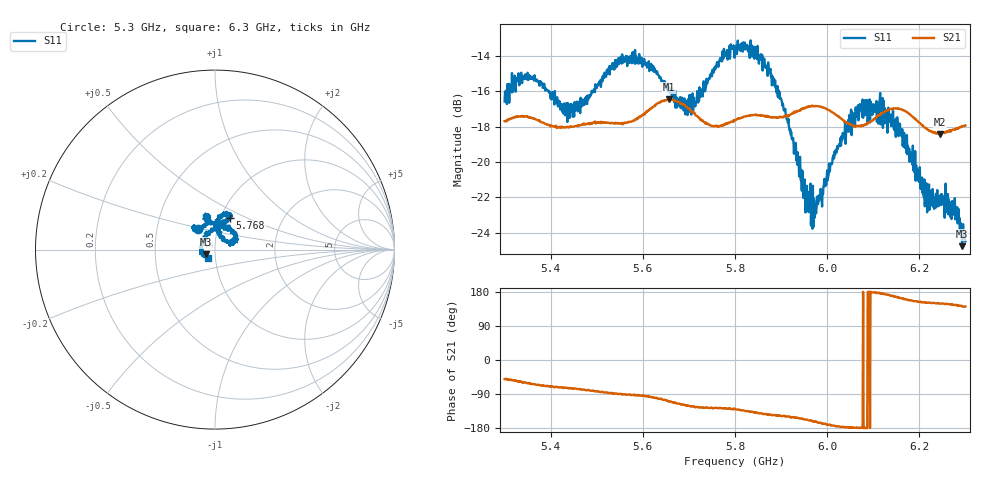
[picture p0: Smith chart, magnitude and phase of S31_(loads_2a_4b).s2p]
! NanoVNA-App
! Date: 2026-11-04 23:51:35
! Start: 5,3GHz Stop: 6,3GHz Points: 1001
! S-Parameter data: F S11 S21 S12 S22
# Hz S RI R 50
!  Frequency  S11_Real  S11_Imag  S21_Real  S21_Imag  S12_Real  S12_Imag  S22_Real  S22_Imag
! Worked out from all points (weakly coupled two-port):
!   1001 points, 5.3 GHz to 6.3 GHz, reference 50 ohm
!   highest |S21| = -16.44 dB at 5.657 GHz (marker M1); lowest = -18.4 dB at 6.245 GHz (marker M2)
!   lowest |S11| = -24.8 dB at 6.293 GHz (marker M3), VSWR 1.12, Z = 45 - j2.39 ohm
!   |S11| at or under -10 dB: start of sweep to end of sweep
!   S12 and S22 are empty: the file has one direction only
!   S11 on the Smith chart (normalised r, x): 5.3 GHz: 0.81, +0.19; 5.768 GHz: 1.10, +0.41; 6.3 GHz: 0.92, -0.08
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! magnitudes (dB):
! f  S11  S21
! 5.3 GHz  -16.6  -17.7
! 5.347 GHz  -15.1  -17.4
! 5.431 GHz  -17.4  -18.0
! 5.467 GHz  -16.6  -17.9
! 5.551 GHz  -14.2  -17.8
! 5.634 GHz  -15.1  -16.7
! 5.657 GHz  -16.0  -16.4
! 5.71 GHz  -16.4  -17.2
! 5.768 GHz  -14.1  -17.9
! 5.8 GHz  -13.8  -17.6
! 5.823 GHz  -13.4  -17.4
! 5.874 GHz  -14.8  -17.5
! 5.967 GHz  -22.5  -16.8
! 5.978 GHz  -22.0  -16.8
! 6.067 GHz  -16.8  -18.0
! 6.134 GHz  -17.5  -17.1
! 6.155 GHz  -18.5  -17.0
! 6.212 GHz  -22.5  -18.1
! 6.245 GHz  -22.4  -18.4
! 6.277 GHz  -22.0  -18.2
! 6.293 GHz  -24.8  -18.0
! 6.3 GHz  -24.5  -17.9
